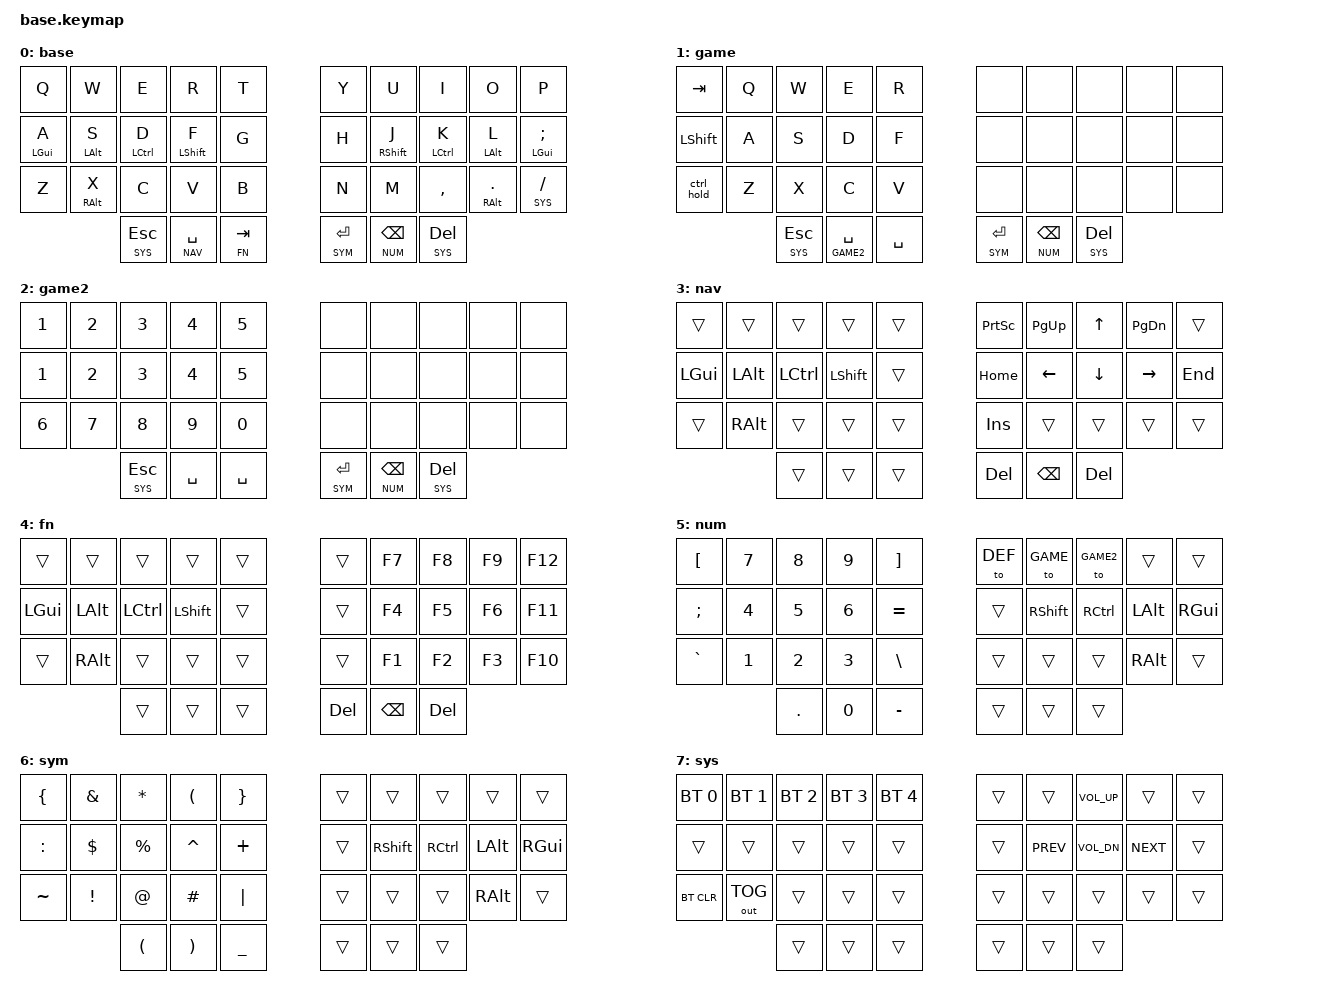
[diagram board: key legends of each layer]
#include <behaviors.dtsi>
#include <dt-bindings/zmk/keys.h>
#include <dt-bindings/zmk/bt.h>
#include <dt-bindings/zmk/outputs.h>
#include "./zmk-nodefree-config/helper.h"

#define DEF 0
#define GAME 1
#define GAME2 2
#define NAV 3
#define FN 4
#define NUM 5
#define SYM 6
#define SYS 7

#include "combos.dtsi"  // requires layer aliases

#define XXX &none
#define ___ &trans

/* Global settings */

#define QUICK_TAP_MS 175

&sk {  // sticky-key config
    release-after-ms = <900>;  // release after 0.6s
    quick-release;             // no double capitalization when rolling keys
};

&sl {  // sticky-layer config
    ignore-modifiers;          // allow chording sticky mods & layers
};

&lt {  // layer-tap config
    flavor = "balanced";
    tapping-term-ms = <200>;
    quick-tap-ms = <QUICK_TAP_MS>;
};

/* Homerow mods */

#define KEYS_L LT0 LT1 LT2 LT3 LT4 LM0 LM1 LM2 LM3 LM4 LB0 LB1 LB2 LB3 LB4  // left hand
#define KEYS_R RT0 RT1 RT2 RT3 RT4 RM0 RM1 RM2 RM3 RM4 RB0 RB1 RB2 RB3 RB4  // right hand
#define THUMBS LH1 LH0 RH0 RH1                                              // thumbs

#define MAKE_HRM(NAME, HOLD, TAP, TRIGGER_POS) \
    ZMK_BEHAVIOR(NAME, hold_tap, \
        flavor = "balanced"; \
        tapping-term-ms = <280>; \
        quick-tap-ms = <QUICK_TAP_MS>; \
        require-prior-idle-ms = <100>; \
        bindings = <HOLD>, <TAP>; \
        hold-trigger-key-positions = <TRIGGER_POS>; \
        hold-trigger-on-release; \
    )
MAKE_HRM(hml, &kp, &kp, KEYS_R THUMBS)  // left-hand HRMs
MAKE_HRM(hmr, &kp, &kp, KEYS_L THUMBS)  // right-hand HRMs

/* Nav cluster */

// long-tap action on hold, short-tap action on all interrupts
#define MT_CORE \
    flavor = "tap-preferred"; \
    tapping-term-ms = <220>; \
    quick-tap-ms = <220>; \
    hold-trigger-key-positions = <0>;

&mt { MT_CORE };
ZMK_BEHAVIOR(mt_home, hold_tap, bindings = <&masked_home>, <&kp>; MT_CORE)
ZMK_BEHAVIOR(mt_end,  hold_tap,  bindings = <&masked_end>, <&kp>; MT_CORE)

// mask CTRL when holding left/right to avoid accidental jumps to beginning/end of document
#define MASK_MODS(NAME, MODS, BINDING) \
    ZMK_BEHAVIOR(NAME, mod_morph, \
        bindings = <BINDING>, <BINDING>; \
        mods = <MODS>; \
    )
MASK_MODS(masked_home, (MOD_LCTL), &kp HOME)
MASK_MODS(masked_end,  (MOD_LCTL), &kp END)


ZMK_BEHAVIOR(ctrl_hold, tap_dance,
    tapping-term-ms = <200>;
    bindings = <&kp LCTRL>, <&kt LCTRL>;
)

/* Keymap */

ZMK_LAYER(base,
//╭─────────────┬─────────────┬─────────────┬─────────────┬─────────────╮ ╭─────────────┬─────────────┬─────────────┬─────────────┬─────────────╮
  &kp Q         &kp W         &kp E         &kp R         &kp T           &kp Y         &kp U         &kp I         &kp O         &kp P    
//├─────────────┼─────────────┼─────────────┼─────────────┼─────────────┤ ├─────────────┼─────────────┼─────────────┼─────────────┼─────────────┤
  &hml LGUI A   &hml LALT S   &hml LCTRL D  &hml LSHFT F  &kp G           &kp H         &hmr RSHFT J  &hmr LCTRL K  &hmr LALT L   &hmr LGUI SEMI
//├─────────────┼─────────────┼─────────────┼─────────────┼─────────────┤ ├─────────────┼─────────────┼─────────────┼─────────────┼─────────────┤
  &kp Z         &hml RALT X   &kp C         &kp V         &kp B           &kp N         &kp M         &kp COMMA     &hmr RALT DOT &lt SYS FSLH     
//╰─────────────┼─────────────┴─────────────┼─────────────┼─────────────┤ ├─────────────┼─────────────┼─────────────┴───────────────────────────╯
                             &lt SYS ESC   &lt NAV SPACE  &lt FN TAB      &lt SYM RET   &lt NUM BSPC  &lt SYS DEL                                         
//                                           ─────────────┴─────────────╯ ╰─────────────┴─────────────                                          
)

ZMK_LAYER(game,
//╭─────────────┬─────────────┬─────────────┬─────────────┬─────────────╮ ╭─────────────┬─────────────┬─────────────┬─────────────┬─────────────╮
     &kp TAB       &kp Q         &kp W         &kp E         &kp R           &none         &none         &none         &none         &none    
//├─────────────┼─────────────┼─────────────┼─────────────┼─────────────┤ ├─────────────┼─────────────┼─────────────┼─────────────┼─────────────┤
     &kp LSHFT     &kp A         &kp S         &kp D         &kp F           &none         &none         &none         &none         &none
//├─────────────┼─────────────┼─────────────┼─────────────┼─────────────┤ ├─────────────┼─────────────┼─────────────┼─────────────┼─────────────┤
     &ctrl_hold    &kp Z         &kp X         &kp C         &kp V           &none         &none         &none         &none         &none     
//╰─────────────┼─────────────┴─────────────┼─────────────┼─────────────┤ ├─────────────┼─────────────┼─────────────┴───────────────────────────╯
                             &lt SYS ESC    &lt GAME2 SPACE  &kp SPACE       &lt SYM RET   &lt NUM BSPC  &lt SYS DEL                                         
//                                           ─────────────┴─────────────╯ ╰─────────────┴─────────────                                          
)

ZMK_LAYER(game2,
//╭─────────────┬─────────────┬─────────────┬─────────────┬─────────────╮ ╭─────────────┬─────────────┬─────────────┬─────────────┬─────────────╮
     &kp N1      &kp N2         &kp N3         &kp N4       &kp N5           &none         &none         &none         &none         &none    
//├─────────────┼─────────────┼─────────────┼─────────────┼─────────────┤ ├─────────────┼─────────────┼─────────────┼─────────────┼─────────────┤
     &kp N1      &kp N2         &kp N3        &kp N4        &kp N5           &none         &none         &none         &none         &none 
//├─────────────┼─────────────┼─────────────┼─────────────┼─────────────┤ ├─────────────┼─────────────┼─────────────┼─────────────┼─────────────┤
     &kp N6      &kp N7         &kp N8        &kp N9        &kp 0           &none         &none         &none         &none         &none      
//╰─────────────┼─────────────┴─────────────┼─────────────┼─────────────┤ ├─────────────┼─────────────┼─────────────┴───────────────────────────╯
                             &lt SYS ESC      &kp SPACE     &kp SPACE      &lt SYM RET   &lt NUM BSPC  &lt SYS DEL                                         
//                                           ─────────────┴─────────────╯ ╰─────────────┴─────────────                                          
)

ZMK_LAYER(nav,
//╭─────────────┬─────────────┬─────────────┬─────────────┬─────────────╮ ╭─────────────┬─────────────┬─────────────┬─────────────┬─────────────╮
  ___           ___           ___            ___          ___             &kp PSCRN     &kp PG_UP     &kp UP        &kp PG_DN     ___        
//├─────────────┼─────────────┼─────────────┼─────────────┼─────────────┤ ├─────────────┼─────────────┼─────────────┼─────────────┼─────────────┤
  &kp LGUI      &kp LALT      &kp LCTRL     &kp LSHFT     ___             &kp HOME      &kp LEFT       &kp DOWN      &kp RIGHT     &kp END    
//├─────────────┼─────────────┼─────────────┼─────────────┼─────────────┤ ├─────────────┼─────────────┼─────────────┼─────────────┼─────────────┤
  ___           &kp RALT      ___           ___           ___             &kp INS       ___            ___           ___           ___        
//╰─────────────┼─────────────┴─────────────┼─────────────┼─────────────┤ ├─────────────┼─────────────┼─────────────┴───────────────────────────╯
                              ___           ___           ___             &kp DEL         &kp BSPC          &kp DEL                                    
//                                           ─────────────┴─────────────╯ ╰─────────────┴─────────────                                         
)

ZMK_LAYER(fn,
//╭─────────────┬─────────────┬─────────────┬─────────────┬─────────────╮ ╭─────────────┬─────────────┬─────────────┬─────────────┬─────────────╮
  ___           ___           ___           ___           ___             ___           &kp F7        &kp F8        &kp F9         &kp F12
//├─────────────┼─────────────┼─────────────┼─────────────┼─────────────┤ ├─────────────┼─────────────┼─────────────┼─────────────┼─────────────┤
  &kp LGUI      &kp LALT      &kp LCTRL     &kp LSHFT     ___             ___           &kp F4        &kp F5        &kp F6         &kp F11      
//├─────────────┼─────────────┼─────────────┼─────────────┼─────────────┤ ├─────────────┼─────────────┼─────────────┼─────────────┼─────────────┤
  ___           &kp RALT      ___           ___           ___             ___           &kp F1        &kp F2        &kp F3         &kp F10        
//╰─────────────┼─────────────┴─────────────┼─────────────┼─────────────┤ ├─────────────┼─────────────┼─────────────┴───────────────────────────╯
                                ___         ___           ___               &kp DEL       &kp BSPC      &kp DEL                                  
//                                          ─────────────┴─────────────╯ ╰─────────────┴─────────────╯                                          
)

ZMK_LAYER(num,
//╭─────────────┬─────────────┬─────────────┬─────────────┬─────────────╮ ╭─────────────┬─────────────┬─────────────┬─────────────┬─────────────╮
  &kp LBKT      &kp N7        &kp N8        &kp N9        &kp RBKT          &to DEF      &to GAME     &to GAME2     ___           ___        
//├─────────────┼─────────────┼─────────────┼─────────────┼─────────────┤ ├─────────────┼─────────────┼─────────────┼─────────────┼─────────────┤
  &kp SEMI      &kp N4        &kp N5        &kp N6        &kp EQUAL         ___           &kp RSHFT     &kp RCTRL     &kp LALT     &kp RGUI       
//├─────────────┼─────────────┼─────────────┼─────────────┼─────────────┤ ├─────────────┼─────────────┼─────────────┼─────────────┼─────────────┤
  &kp GRAVE     &kp N1        &kp N2        &kp N3        &kp BSLH          ___           ___           ___            &kp RALT           ___        
//╰─────────────┼─────────────┴─────────────┼─────────────┼─────────────┤ ├─────────────┼─────────────┼─────────────┴───────────────────────────╯
                              &kp DOT       &kp N0        &kp MINUS         ___           ___           ___                                       
//                                          ╰─────────────┴─────────────╯ ╰─────────────┴─────────────╯                                          
)

ZMK_LAYER(sym,
//╭─────────────┬─────────────┬─────────────┬─────────────┬─────────────╮ ╭─────────────┬─────────────┬─────────────┬─────────────┬─────────────╮
  &kp LBRC      &kp AMPS      &kp STAR      &kp LPAR      &kp RBRC          ___           ___           ___           ___           ___        
//├─────────────┼─────────────┼─────────────┼─────────────┼─────────────┤ ├─────────────┼─────────────┼─────────────┼─────────────┼─────────────┤
  &kp COLON     &kp DLLR      &kp PRCNT     &kp CARET     &kp PLUS          ___           &kp RSHFT     &kp RCTRL     &kp LALT     &kp RGUI       
//├─────────────┼─────────────┼─────────────┼─────────────┼─────────────┤ ├─────────────┼─────────────┼─────────────┼─────────────┼─────────────┤
  &kp TILDE     &kp EXCL      &kp AT        &kp HASH      &kp PIPE          ___           ___           ___            &kp RALT           ___        
//╰─────────────┼─────────────┴─────────────┼─────────────┼─────────────┤ ├─────────────┼─────────────┼─────────────┴───────────────────────────╯
                              &kp LPAR      &kp RPAR      &kp UNDER         ___           ___           ___                                        
//                                           ─────────────┴─────────────╯ ╰─────────────┴─────────────╯                                          
)

ZMK_LAYER(sys,  
//╭─────────────┬─────────────┬─────────────┬─────────────┬─────────────╮ ╭─────────────┬─────────────┬─────────────┬─────────────┬─────────────╮
    &bt BT_SEL 0   &bt BT_SEL 1  &bt BT_SEL 2  &bt BT_SEL 3 &bt BT_SEL 4     ___           ___           &kp C_VOL_UP  ___           ___        
//├─────────────┼─────────────┼─────────────┼─────────────┼─────────────┤ ├─────────────┼─────────────┼─────────────┼─────────────┼─────────────┤
      ___           ___           ___           ___           ___             ___           &kp C_PREV    &kp C_VOL_DN  &kp C_NEXT    ___        
//├─────────────┼─────────────┼─────────────┼─────────────┼─────────────┤ ├─────────────┼─────────────┼─────────────┼─────────────┼─────────────┤
     &bt BT_CLR  &out OUT_TOG     ___           ___           ___             ___           ___           ___           ___           ___        
//╰─────────────┼─────────────┴─────────────┼─────────────┼─────────────┤ ├─────────────┼─────────────┼─────────────┴───────────────────────────╯
                                   ___           ___           ___             ___           ___           ___                                     
//                                          ╰─────────────┴─────────────╯ ╰─────────────┴─────────────╯                                          
)
